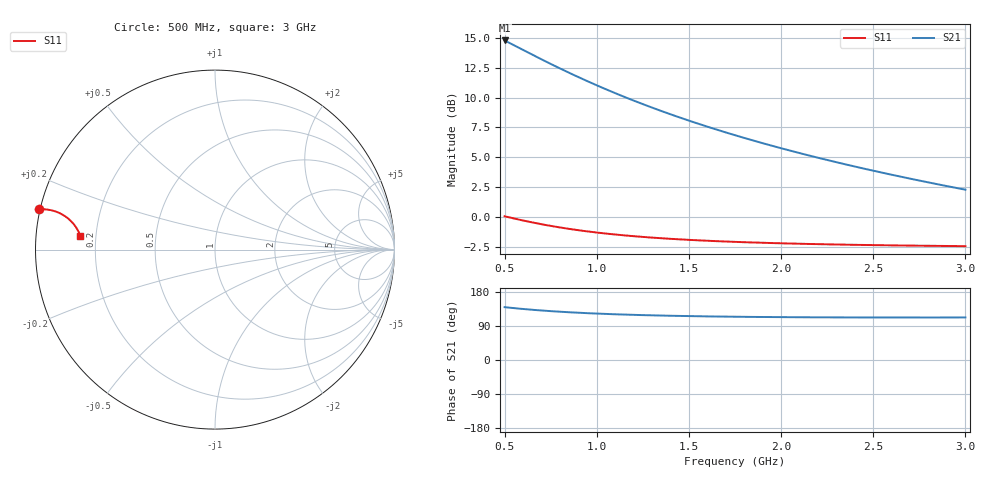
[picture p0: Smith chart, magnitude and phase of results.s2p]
! rfsim (KiCad + openEMS)
# HZ S RI R 50
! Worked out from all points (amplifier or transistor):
!   251 points, 500 MHz to 3 GHz, reference 50 ohm
!   highest |S21| = 14.8 dB at 500 MHz (marker M1)
!   |S21| within 3 dB of that: start of sweep to 889.8 MHz
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5e8  -0.9803 0.2238  -4.176 3.574  0 0  0 0
5.5e8  -0.9589 0.2246  -3.834 3.587  0 0  0 0
6e8  -0.9393 0.2236  -3.522 3.57  0 0  0 0
6.5e8  -0.9216 0.2211  -3.239 3.531  0 0  0 0
7e8  -0.9056 0.2176  -2.984 3.475  0 0  0 0
7.5e8  -0.8913 0.2135  -2.755 3.409  0 0  0 0
8.1e8  -0.876 0.2078  -2.51 3.318  0 0  0 0
8.6e8  -0.8646 0.2028  -2.329 3.238  0 0  0 0
9.2e8  -0.8525 0.1966  -2.136 3.139  0 0  0 0
1.01e9  -0.8371 0.1872  -1.889 2.989  0 0  0 0
1.11e9  -0.823 0.177  -1.664 2.827  0 0  0 0
1.22e9  -0.8104 0.1664  -1.463 2.657  0 0  0 0
1.34e9  -0.7993 0.1557  -1.286 2.486  0 0  0 0
1.43e9  -0.7925 0.1482  -1.177 2.367  0 0  0 0
1.53e9  -0.7861 0.1406  -1.075 2.245  0 0  0 0
1.64e9  -0.7802 0.1328  -0.9798 2.122  0 0  0 0
1.75e9  -0.7752 0.1257  -0.9001 2.008  0 0  0 0
1.95e9  -0.768 0.1143  -0.785 1.827  0 0  0 0
2.17e9  -0.7621 0.1036  -0.6904 1.656  0 0  0 0
2.37e9  -0.7579 0.0953  -0.6247 1.523  0 0  0 0
2.59e9  -0.7544 0.0873  -0.5685 1.397  0 0  0 0
3e9  -0.7497 0.0752  -0.4935 1.203  0 0  0 0
